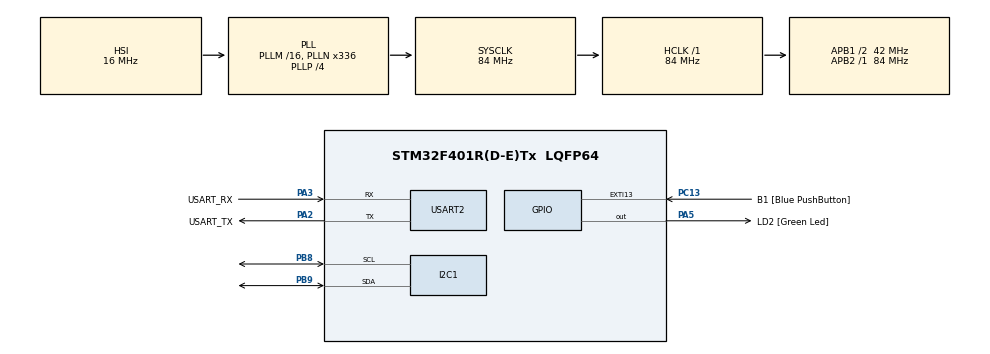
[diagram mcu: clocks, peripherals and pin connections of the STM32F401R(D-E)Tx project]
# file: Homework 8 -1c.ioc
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Dma.I2C1_RX.1.Direction=DMA_PERIPH_TO_MEMORY
Dma.I2C1_RX.1.FIFOMode=DMA_FIFOMODE_DISABLE
Dma.I2C1_RX.1.Instance=DMA1_Stream0
Dma.I2C1_RX.1.MemDataAlignment=DMA_MDATAALIGN_BYTE
Dma.I2C1_RX.1.MemInc=DMA_MINC_ENABLE
Dma.I2C1_RX.1.Mode=DMA_NORMAL
Dma.I2C1_RX.1.PeriphDataAlignment=DMA_PDATAALIGN_BYTE
Dma.I2C1_RX.1.PeriphInc=DMA_PINC_DISABLE
Dma.I2C1_RX.1.Priority=DMA_PRIORITY_LOW
Dma.Request0=USART2_TX
Dma.Request1=I2C1_RX
Dma.USART2_TX.0.Direction=DMA_MEMORY_TO_PERIPH
Dma.USART2_TX.0.FIFOMode=DMA_FIFOMODE_DISABLE
Dma.USART2_TX.0.Instance=DMA1_Stream6
Dma.USART2_TX.0.MemDataAlignment=DMA_MDATAALIGN_BYTE
Dma.USART2_TX.0.MemInc=DMA_MINC_ENABLE
Dma.USART2_TX.0.Mode=DMA_NORMAL
Dma.USART2_TX.0.PeriphDataAlignment=DMA_PDATAALIGN_BYTE
Dma.USART2_TX.0.PeriphInc=DMA_PINC_DISABLE
Dma.USART2_TX.0.Priority=DMA_PRIORITY_LOW
Mcu.Family=STM32F4
Mcu.Name=STM32F401R(D-E)Tx
Mcu.Package=LQFP64
NVIC.DMA1_Stream0_IRQn=true\:0\:0\:false\:false\:true\:false\:true\:true
NVIC.DMA1_Stream6_IRQn=true\:0\:0\:true\:false\:true\:false\:true\:true
NVIC.I2C1_ER_IRQn=true\:0\:0\:false\:false\:true\:true\:true\:true
NVIC.I2C1_EV_IRQn=true\:0\:0\:false\:false\:true\:true\:true\:true
NVIC.PriorityGroup=NVIC_PRIORITYGROUP_4
NVIC.TIM2_IRQn=true\:0\:0\:true\:false\:true\:true\:true\:true
NVIC.USART2_IRQn=true\:0\:0\:false\:false\:true\:true\:true\:true
PA13.GPIO_Label=TMS
PA13.Mode=Trace_Asynchronous_SW
PA13.Signal=SYS_JTMS-SWDIO
PA14.GPIO_Label=TCK
PA14.Mode=Trace_Asynchronous_SW
PA14.Signal=SYS_JTCK-SWCLK
PA2.GPIO_Label=USART_TX
PA2.GPIO_Mode=GPIO_MODE_AF_PP
PA2.GPIO_PuPd=GPIO_NOPULL
PA2.GPIO_Speed=GPIO_SPEED_FREQ_LOW
PA2.Mode=Asynchronous
PA2.Signal=USART2_TX
PA3.GPIO_Label=USART_RX
PA3.GPIO_Mode=GPIO_MODE_AF_PP
PA3.GPIO_PuPd=GPIO_NOPULL
PA3.GPIO_Speed=GPIO_SPEED_FREQ_LOW
PA3.Mode=Asynchronous
PA3.Signal=USART2_RX
PA5.GPIO_Label=LD2 [Green Led]
PA5.GPIO_Mode=GPIO_MODE_OUTPUT_PP
PA5.GPIO_PuPd=GPIO_NOPULL
PA5.GPIO_Speed=GPIO_SPEED_FREQ_LOW
PA5.Signal=GPIO_Output
PB3.GPIO_Label=SWO
PB3.Mode=Trace_Asynchronous_SW
PB3.Signal=SYS_JTDO-SWO
PB8.Mode=I2C
PB8.Signal=I2C1_SCL
PB9.Mode=I2C
PB9.Signal=I2C1_SDA
PC13-ANTI_TAMP.GPIO_Label=B1 [Blue PushButton]
PC13-ANTI_TAMP.GPIO_ModeDefaultEXTI=GPIO_MODE_IT_FALLING
PC13-ANTI_TAMP.GPIO_PuPd=GPIO_NOPULL
PC13-ANTI_TAMP.Signal=GPXTI13
PC14-OSC32_IN.Mode=LSE-External-Oscillator
PC14-OSC32_IN.Signal=RCC_OSC32_IN
PC15-OSC32_OUT.Mode=LSE-External-Oscillator
PC15-OSC32_OUT.Signal=RCC_OSC32_OUT
PH0\ -\ OSC_IN.Mode=HSE-External-Clock-Source
PH0\ -\ OSC_IN.Signal=RCC_OSC_IN
PH1\ -\ OSC_OUT.Mode=HSE-External-Clock-Source
PH1\ -\ OSC_OUT.Signal=RCC_OSC_OUT
ProjectManager.HeapSize=0x200
ProjectManager.StackSize=0x400
ProjectManager.TargetToolchain=STM32CubeIDE
RCC.48MHZClocksFreq_Value=48000000
RCC.AHBFreq_Value=84000000
RCC.APB1CLKDivider=RCC_HCLK_DIV2
RCC.APB1Freq_Value=42000000
RCC.APB1TimFreq_Value=84000000
RCC.APB2Freq_Value=84000000
RCC.APB2TimFreq_Value=84000000
RCC.CortexFreq_Value=84000000
RCC.HCLKFreq_Value=84000000
RCC.HSE_VALUE=8000000
RCC.HSI_VALUE=16000000
RCC.PLLN=336
RCC.PLLP=RCC_PLLP_DIV4
RCC.PLLQ=7
RCC.SYSCLKFreq_VALUE=84000000
RCC.SYSCLKSource=RCC_SYSCLKSOURCE_PLLCLK
RCC.VCOOutputFreq_Value=336000000
TIM2.Period=9999
TIM2.Prescaler=8399
USART2.VirtualMode=VM_ASYNC
VP_TIM2_VS_ClockSourceINT.Mode=Internal
board=NUCLEO-F401RE

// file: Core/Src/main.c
/* USER CODE BEGIN Header */
/**
  ******************************************************************************
  * @file           : main.c
  * @brief          : Main program body
  ******************************************************************************
  * @attention
  *
  * Copyright (c) 2025 STMicroelectronics.
  * All rights reserved.
  *
  * This software is licensed under terms that can be found in the LICENSE file
  * in the root directory of this software component.
  * If no LICENSE file comes with this software, it is provided AS-IS.
  *
  ******************************************************************************
  */
/* USER CODE END Header */
#include "main.h"

/* USER CODE BEGIN Includes */
#include "stdio.h"
#include "string.h"
/* USER CODE END Includes */

I2C_HandleTypeDef hi2c1;
DMA_HandleTypeDef hdma_i2c1_rx;

TIM_HandleTypeDef htim2;

UART_HandleTypeDef huart2;
DMA_HandleTypeDef hdma_usart2_tx;

/* USER CODE BEGIN PV */
//reg address, 1Hz + normal mode + XYZ enabled
uint8_t CTRL_REG1[] = {0x20, 0b00010111};
//reg address, no HPF (default value at startup)
uint8_t CTRL_REG2[] = {0x21, 0b00000000};
//reg address, continuous update + 2g FSR + self test disabled (default)
uint8_t CTRL_REG4[] = {0x23, 0b00000000};

uint8_t OUT_X_ADD = 0x29;
uint8_t OUT_Y_ADD = 0x2B;
uint8_t OUT_Z_ADD = 0x2D;
uint8_t ACCEL_ADD;
uint8_t LIS2DE_ADDRESS = 0b01010000; // 0x28 << 1 = 0x50
uint8_t LIS2DW_ADDRESS = 0b00110000; // 0x18 << 1 = 0x30

int len;
char str[74];
int8_t values[5];
/* USER CODE END PV */

void SystemClock_Config(void);
static void MX_GPIO_Init(void);
static void MX_DMA_Init(void);
static void MX_USART2_UART_Init(void);
static void MX_I2C1_Init(void);
static void MX_TIM2_Init(void);

/* USER CODE BEGIN 0 */

void HAL_TIM_PeriodElapsedCallback(TIM_HandleTypeDef *htim)
{
    if (htim == &htim2)
    {
    	uint8_t SUB = 0x29 | 0x80; //0x29 = OUT_X_ADD, 0x80 sets the MSB to 1
    	HAL_I2C_Master_Transmit(&hi2c1, ACCEL_ADD, &SUB, 1, 50);
    	HAL_I2C_Master_Receive_DMA(&hi2c1, ACCEL_ADD+1, values, 5);
    }
}

void HAL_I2C_MasterRxCpltCallback(I2C_HandleTypeDef *hi2c){
	if (hi2c == &hi2c1){
		HAL_GPIO_TogglePin(GPIOB, GPIO_PIN_0); // or LED blink
		char str[74];
		int len = 0;

		float acc_g_x = values[0] / 64.0;
		float acc_g_y = values[2] / 64.0;
	  	float acc_g_z = values[4] / 64.0;

	  	len = snprintf(str, sizeof(str), "X: %+.2f g\r\nY: %+.2f g\r\nZ: %+.2f g\r\n\r\n",acc_g_x, acc_g_y, acc_g_z);
	  	HAL_UART_Transmit_DMA(&huart2, str, len);
	}
}
/* USER CODE END 0 */

int main(void)
{

  /* MCU Configuration--------------------------------------------------------*/

  /* Reset of all peripherals, Initializes the Flash interface and the Systick. */
  HAL_Init();

  /* Configure the system clock */
  SystemClock_Config();

  /* Initialize all configured peripherals */
  MX_GPIO_Init();
  MX_DMA_Init();
  MX_USART2_UART_Init();
  MX_I2C1_Init();
  MX_TIM2_Init();
  /* USER CODE BEGIN 2 */
  //Initialize accelerometer
    ACCEL_ADD = LIS2DE_ADDRESS;
    if(HAL_I2C_Master_Transmit(&hi2c1, ACCEL_ADD, CTRL_REG1, sizeof(CTRL_REG1), 100)== HAL_OK)
    {
  	  len = snprintf(str, sizeof(str), "LIS2DE found\r\n");
    }else{
  	  ACCEL_ADD = LIS2DW_ADDRESS;
  	  if(HAL_I2C_Master_Transmit(&hi2c1, ACCEL_ADD, CTRL_REG1, sizeof(CTRL_REG1), 100) == HAL_OK)
  	  {
  		  len = snprintf(str, sizeof(str), "LIS2DW found\r\n");
  	  }else{
  		  len = snprintf(str, sizeof(str), "Accelerometer error\r\n");
  	  }
     }
     HAL_UART_Transmit_DMA(&huart2, str, len);

     // Not strictly needed (already in default config)
     HAL_I2C_Master_Transmit(&hi2c1, ACCEL_ADD, CTRL_REG2, sizeof(CTRL_REG2), 100);
     HAL_I2C_Master_Transmit(&hi2c1, ACCEL_ADD, CTRL_REG4, sizeof(CTRL_REG4), 100);
     HAL_TIM_Base_Start_IT(&htim2);
  /* USER CODE END 2 */

  /* Infinite loop */
  while (1)
  {

  }
}

void SystemClock_Config(void)
{
  RCC_OscInitTypeDef RCC_OscInitStruct = {0};
  RCC_ClkInitTypeDef RCC_ClkInitStruct = {0};

  /** Configure the main internal regulator output voltage
  */
  __HAL_RCC_PWR_CLK_ENABLE();
  __HAL_PWR_VOLTAGESCALING_CONFIG(PWR_REGULATOR_VOLTAGE_SCALE2);

  /** Initializes the RCC Oscillators according to the specified parameters
  * in the RCC_OscInitTypeDef structure.
  */
  RCC_OscInitStruct.OscillatorType = RCC_OSCILLATORTYPE_HSI;
  RCC_OscInitStruct.HSIState = RCC_HSI_ON;
  RCC_OscInitStruct.HSICalibrationValue = RCC_HSICALIBRATION_DEFAULT;
  RCC_OscInitStruct.PLL.PLLState = RCC_PLL_ON;
  RCC_OscInitStruct.PLL.PLLSource = RCC_PLLSOURCE_HSI;
  RCC_OscInitStruct.PLL.PLLM = 16;
  RCC_OscInitStruct.PLL.PLLN = 336;
  RCC_OscInitStruct.PLL.PLLP = RCC_PLLP_DIV4;
  RCC_OscInitStruct.PLL.PLLQ = 7;
  if (HAL_RCC_OscConfig(&RCC_OscInitStruct) != HAL_OK)
  {
    Error_Handler();
  }

  /** Initializes the CPU, AHB and APB buses clocks
  */
  RCC_ClkInitStruct.ClockType = RCC_CLOCKTYPE_HCLK|RCC_CLOCKTYPE_SYSCLK
                              |RCC_CLOCKTYPE_PCLK1|RCC_CLOCKTYPE_PCLK2;
  RCC_ClkInitStruct.SYSCLKSource = RCC_SYSCLKSOURCE_PLLCLK;
  RCC_ClkInitStruct.AHBCLKDivider = RCC_SYSCLK_DIV1;
  RCC_ClkInitStruct.APB1CLKDivider = RCC_HCLK_DIV2;
  RCC_ClkInitStruct.APB2CLKDivider = RCC_HCLK_DIV1;

  if (HAL_RCC_ClockConfig(&RCC_ClkInitStruct, FLASH_LATENCY_2) != HAL_OK)
  {
    Error_Handler();
  }
}

static void MX_I2C1_Init(void)
{

  hi2c1.Instance = I2C1;
  hi2c1.Init.ClockSpeed = 100000;
  hi2c1.Init.DutyCycle = I2C_DUTYCYCLE_2;
  hi2c1.Init.OwnAddress1 = 0;
  hi2c1.Init.AddressingMode = I2C_ADDRESSINGMODE_7BIT;
  hi2c1.Init.DualAddressMode = I2C_DUALADDRESS_DISABLE;
  hi2c1.Init.OwnAddress2 = 0;
  hi2c1.Init.GeneralCallMode = I2C_GENERALCALL_DISABLE;
  hi2c1.Init.NoStretchMode = I2C_NOSTRETCH_DISABLE;
  if (HAL_I2C_Init(&hi2c1) != HAL_OK)
  {
    Error_Handler();
  }

}

static void MX_TIM2_Init(void)
{

  TIM_ClockConfigTypeDef sClockSourceConfig = {0};
  TIM_MasterConfigTypeDef sMasterConfig = {0};

  htim2.Instance = TIM2;
  htim2.Init.Prescaler = 8399;
  htim2.Init.CounterMode = TIM_COUNTERMODE_UP;
  htim2.Init.Period = 9999;
  htim2.Init.ClockDivision = TIM_CLOCKDIVISION_DIV1;
  htim2.Init.AutoReloadPreload = TIM_AUTORELOAD_PRELOAD_DISABLE;
  if (HAL_TIM_Base_Init(&htim2) != HAL_OK)
  {
    Error_Handler();
  }
  sClockSourceConfig.ClockSource = TIM_CLOCKSOURCE_INTERNAL;
  if (HAL_TIM_ConfigClockSource(&htim2, &sClockSourceConfig) != HAL_OK)
  {
    Error_Handler();
  }
  sMasterConfig.MasterOutputTrigger = TIM_TRGO_RESET;
  sMasterConfig.MasterSlaveMode = TIM_MASTERSLAVEMODE_DISABLE;
  if (HAL_TIMEx_MasterConfigSynchronization(&htim2, &sMasterConfig) != HAL_OK)
  {
    Error_Handler();
  }

}

static void MX_USART2_UART_Init(void)
{

  huart2.Instance = USART2;
  huart2.Init.BaudRate = 115200;
  huart2.Init.WordLength = UART_WORDLENGTH_8B;
  huart2.Init.StopBits = UART_STOPBITS_1;
  huart2.Init.Parity = UART_PARITY_NONE;
  huart2.Init.Mode = UART_MODE_TX_RX;
  huart2.Init.HwFlowCtl = UART_HWCONTROL_NONE;
  huart2.Init.OverSampling = UART_OVERSAMPLING_16;
  if (HAL_UART_Init(&huart2) != HAL_OK)
  {
    Error_Handler();
  }

}

static void MX_DMA_Init(void)
{

  /* DMA controller clock enable */
  __HAL_RCC_DMA1_CLK_ENABLE();

  /* DMA interrupt init */
  /* DMA1_Stream0_IRQn interrupt configuration */
  HAL_NVIC_SetPriority(DMA1_Stream0_IRQn, 0, 0);
  HAL_NVIC_EnableIRQ(DMA1_Stream0_IRQn);
  /* DMA1_Stream6_IRQn interrupt configuration */
  HAL_NVIC_SetPriority(DMA1_Stream6_IRQn, 0, 0);
  HAL_NVIC_EnableIRQ(DMA1_Stream6_IRQn);

}

static void MX_GPIO_Init(void)
{
  GPIO_InitTypeDef GPIO_InitStruct = {0};

  /* GPIO Ports Clock Enable */
  __HAL_RCC_GPIOC_CLK_ENABLE();
  __HAL_RCC_GPIOH_CLK_ENABLE();
  __HAL_RCC_GPIOA_CLK_ENABLE();
  __HAL_RCC_GPIOB_CLK_ENABLE();

  /*Configure GPIO pin Output Level */
  HAL_GPIO_WritePin(LD2_GPIO_Port, LD2_Pin, GPIO_PIN_RESET);

  /*Configure GPIO pin : B1_Pin */
  GPIO_InitStruct.Pin = B1_Pin;
  GPIO_InitStruct.Mode = GPIO_MODE_IT_FALLING;
  GPIO_InitStruct.Pull = GPIO_NOPULL;
  HAL_GPIO_Init(B1_GPIO_Port, &GPIO_InitStruct);

  /*Configure GPIO pin : LD2_Pin */
  GPIO_InitStruct.Pin = LD2_Pin;
  GPIO_InitStruct.Mode = GPIO_MODE_OUTPUT_PP;
  GPIO_InitStruct.Pull = GPIO_NOPULL;
  GPIO_InitStruct.Speed = GPIO_SPEED_FREQ_LOW;
  HAL_GPIO_Init(LD2_GPIO_Port, &GPIO_InitStruct);

}

void Error_Handler(void)
{
  __disable_irq();
  while (1)
  {
  }
}
